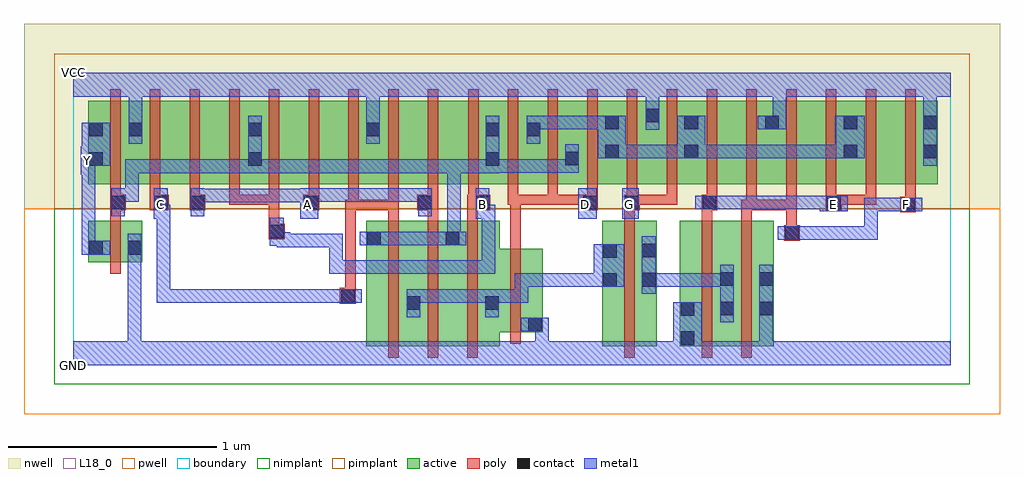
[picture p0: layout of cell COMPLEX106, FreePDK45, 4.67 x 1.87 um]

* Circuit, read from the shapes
.subckt COMPLEX106 A B C D E F G GND VCC Y
M1 GND n1 Y VSUBS nfet w=0.2u l=0.05u
M2 n2 C n1 VSUBS nfet w=0.6u l=0.05u
M3 n1 A n2 VSUBS nfet w=0.6u l=0.05u
M4 n2 B n1 VSUBS nfet w=0.6u l=0.05u
M5 GND D n2 VSUBS nfet w=0.4u l=0.05u
M6 n3 G n2 VSUBS nfet w=0.6u l=0.05u
M7 n3 E GND VSUBS nfet w=0.6u l=0.05u
M8 GND F n3 VSUBS nfet w=0.6u l=0.05u
M9 VCC n1 Y n4 pfet w=0.4u l=0.05u
M10 n5 C VCC n4 pfet w=0.4u l=0.05u
M11 n6 A n5 n4 pfet w=0.4u l=0.05u
M12 n1 B n6 n4 pfet w=0.4u l=0.05u
M13 n7 B n1 n4 pfet w=0.4u l=0.05u
M14 n8 A n7 n4 pfet w=0.4u l=0.05u
M15 VCC C n8 n4 pfet w=0.4u l=0.05u
M16 n9 C VCC n4 pfet w=0.4u l=0.05u
M17 n10 A n9 n4 pfet w=0.4u l=0.05u
M18 n1 B n10 n4 pfet w=0.4u l=0.05u
M19 n11 D n1 n4 pfet w=0.4u l=0.05u m=3
M20 VCC G n11 n4 pfet w=0.4u l=0.05u m=2
M21 n12 E n11 n4 pfet w=0.4u l=0.05u
M22 VCC F n12 n4 pfet w=0.4u l=0.05u
M23 n13 F VCC n4 pfet w=0.4u l=0.05u
M24 n11 E n13 n4 pfet w=0.4u l=0.05u
M25 n14 E n11 n4 pfet w=0.4u l=0.05u
M26 VCC F n14 n4 pfet w=0.4u l=0.05u
.ends

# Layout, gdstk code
import gdstk
lib = gdstk.Library(unit=1e-6, precision=1e-09)
def R(c, l, rs):  # rectangles x0, y0, x1, y1
    for r in rs: c.add(gdstk.rectangle(r[:2], r[2:], *l))
def A(c, l, x, y, w, h, nx, ny, dx, dy):  # array of equal rectangles
    R(c, l, [(x+i*dx, y+j*dy, x+i*dx+w, y+j*dy+h) for i in range(nx) for j in range(ny)])
active = (1, 0)
pwell = (2, 0)
nwell = (3, 0)
nimplant = (4, 0)
pimplant = (5, 0)
poly = (9, 0)
contact = (10, 0)
metal1 = (11, 0)
L18_0 = (18, 0)
boundary = (235, 0)

complex106 = lib.new_cell('COMPLEX106')
R(complex106, active, [(1.402,0.092,1.667,0.692), (1.592,0.092,1.852,0.692), (1.777,0.092,2.042,0.692), (2.532,0.092,2.792,0.692), (2.902,0.092,3.167,0.692), (2.902,0.092,2.977,0.692), (3.092,0.092,3.352,0.692), (1.402,0.095,1.477,0.692), (1.592,0.095,1.667,0.68), (1.777,0.095,1.852,0.692), (2.532,0.095,2.607,0.692), (2.717,0.095,2.792,0.692), (3.092,0.095,3.167,0.692), (3.277,0.095,3.352,0.692), (1.967,0.157,2.247,0.557), (2.172,0.157,2.247,0.557), (1.967,0.2,2.042,0.557), (0.072,0.492,0.147,0.692), (0.072,0.492,0.332,0.692), (0.257,0.492,0.332,0.692), (0.072,0.867,0.147,1.2), (0.072,0.867,0.337,1.267), (0.262,0.867,0.337,1.205), (0.262,0.867,0.487,1.267), (0.487,0.867,0.677,1.267), (0.677,0.867,0.907,1.267), (0.832,0.867,1.057,1.267), (0.832,0.867,0.907,1.2), (1.057,0.867,1.247,1.267), (1.247,0.867,1.472,1.267), (1.397,0.867,1.472,1.205), (1.397,0.867,1.627,1.267), (1.627,0.867,1.82,1.267), (1.82,0.867,2.045,1.267), (1.97,0.867,2.24,1.267), (2.165,0.867,2.24,1.2), (2.165,0.867,2.425,1.267), (2.35,0.867,2.615,1.267), (2.35,0.867,2.425,1.07), (2.54,0.867,2.81,1.267), (2.735,0.867,2.995,1.267), (2.92,0.867,2.995,1.2), (2.92,0.867,3.152,1.267), (3.152,0.867,3.382,1.267), (3.307,0.867,3.382,1.267), (3.307,0.867,3.532,1.267), (3.532,0.867,3.757,1.267), (3.682,0.867,3.912,1.267), (3.682,0.867,3.757,1.2), (3.912,0.867,4.137,1.267), (4.062,0.867,4.137,1.205), (1.97,0.907,2.045,1.2), (2.54,0.907,2.615,1.2), (2.735,0.907,2.81,1.267)])
R(complex106, pwell, [(-0.235,-0.235,4.435,0.75)])
R(complex106, nwell, [(-0.235,0.75,4.435,1.635)])
R(complex106, nimplant, [(-0.09,-0.09,4.29,0.75)])
R(complex106, pimplant, [(-0.09,0.75,4.29,1.49)])
A(complex106, poly, 1.507, 0.037, 0.05, 0.71, 3, 1, 0.19, 0)
A(complex106, poly, 1.507, 0.697, 0.05, 0.095, 3, 1, 0.19, 0)
A(complex106, poly, 0.177, 0.767, 0.05, 0.095, 6, 1, 0.19, 0)
A(complex106, poly, 1.89, 0.767, 0.05, 0.095, 6, 1, 0.19, 0)
A(complex106, poly, 0.177, 0.812, 0.05, 0.51, 9, 1, 0.19, 0)
A(complex106, poly, 1.89, 0.812, 0.05, 0.51, 6, 1, 0.19, 0)
A(complex106, poly, 3.032, 0.812, 0.05, 0.51, 6, 1, 0.19, 0)
R(complex106, poly, [(2.637,0.037,2.687,0.747), (3.007,0.037,3.057,0.747), (3.197,0.037,3.247,0.747), (2.092,0.102,2.142,0.612), (1.277,0.295,1.352,0.37), (1.302,0.32,1.352,0.792), (0.177,0.437,0.227,0.747), (2.092,0.562,2.142,0.817), (3.402,0.595,3.477,0.67), (0.937,0.602,1.012,0.677), (3.412,0.62,3.462,0.67), (3.412,0.62,3.462,0.67), (3.412,0.62,3.462,0.792), (0.937,0.627,0.987,0.677), (0.937,0.627,0.987,0.677), (0.937,0.627,0.987,0.817), (0.177,0.697,0.227,0.792), (2.637,0.697,2.687,0.792), (3.007,0.697,3.057,0.792), (3.197,0.697,3.247,0.792), (3.957,0.732,4.032,0.807), (0.177,0.742,0.252,0.817), (0.367,0.742,0.457,0.817), (0.557,0.742,0.632,0.817), (1.102,0.742,1.177,0.817), (1.302,0.742,1.352,0.792), (1.302,0.742,1.352,0.792), (1.302,0.742,1.352,0.792), (1.302,0.742,1.352,0.792), (1.302,0.742,1.367,0.792), (1.317,0.742,1.367,0.862), (1.317,0.742,1.557,0.792), (1.507,0.742,1.557,0.792), (1.507,0.742,1.557,0.792), (1.507,0.742,1.557,0.792), (1.507,0.742,1.557,0.862), (1.647,0.742,1.747,0.817), (1.887,0.742,1.997,0.817), (2.435,0.742,2.51,0.817), (2.637,0.742,2.712,0.817), (3.007,0.742,3.082,0.817), (3.197,0.742,3.272,0.792), (3.222,0.742,3.272,0.862), (3.222,0.742,3.462,0.792), (3.412,0.742,3.462,0.792), (3.412,0.742,3.462,0.792), (3.412,0.742,3.462,0.792), (3.412,0.742,3.462,0.862), (3.602,0.742,3.677,0.817), (3.982,0.757,4.032,0.862), (0.747,0.767,0.797,0.817), (0.747,0.767,0.797,0.817), (0.747,0.767,0.797,0.817), (0.747,0.767,0.987,0.817), (0.937,0.767,0.987,0.817), (1.697,0.767,1.747,0.862), (2.08,0.767,2.142,0.817), (2.092,0.767,2.142,0.817), (2.092,0.767,2.142,0.817), (2.092,0.767,2.32,0.817), (2.27,0.767,2.32,0.817), (2.27,0.767,2.32,0.817), (2.27,0.767,2.32,0.817), (2.27,0.767,2.485,0.817), (2.662,0.767,2.89,0.817), (2.84,0.767,2.89,0.817), (2.84,0.767,2.89,0.817), (2.84,0.767,2.89,0.817), (3.032,0.767,3.082,0.862), (3.602,0.767,3.652,0.862), (3.627,0.767,3.842,0.817), (3.792,0.767,3.842,0.862), (3.792,0.767,3.842,0.817), (3.792,0.767,3.842,0.817), (3.792,0.767,3.842,0.817)])
A(complex106, contact, 0.562, 0.747, 0.065, 0.065, 3, 1, 0.545, 0)
R(complex106, contact, [(2.907,0.097,2.972,0.162), (2.177,0.162,2.242,0.227), (2.907,0.237,2.972,0.302), (3.097,0.24,3.162,0.305), (3.282,0.24,3.347,0.305), (1.597,0.265,1.662,0.33), (1.972,0.265,2.037,0.33), (1.282,0.3,1.347,0.365), (2.537,0.375,2.602,0.44), (2.722,0.377,2.787,0.442), (3.097,0.38,3.162,0.445), (3.282,0.38,3.347,0.445), (2.537,0.515,2.602,0.58), (2.722,0.517,2.787,0.582), (0.077,0.53,0.142,0.595), (0.262,0.53,0.327,0.595), (1.407,0.575,1.472,0.64), (1.782,0.575,1.847,0.64), (3.407,0.6,3.472,0.665), (0.942,0.607,1.007,0.672), (3.962,0.737,4.027,0.802), (0.182,0.747,0.247,0.812), (0.387,0.747,0.452,0.812), (1.927,0.747,1.992,0.812), (2.44,0.747,2.505,0.812), (2.642,0.747,2.707,0.812), (3.012,0.747,3.077,0.812), (3.607,0.747,3.672,0.812), (0.077,0.955,0.142,1.02), (0.837,0.955,0.902,1.02), (1.975,0.955,2.04,1.02), (2.355,0.957,2.42,1.022), (2.545,0.99,2.61,1.055), (2.925,0.99,2.99,1.055), (3.687,0.99,3.752,1.055), (4.067,0.99,4.132,1.055), (0.077,1.095,0.142,1.16), (0.267,1.095,0.332,1.16), (0.837,1.095,0.902,1.16), (1.402,1.095,1.467,1.16), (1.975,1.095,2.04,1.16), (2.17,1.095,2.235,1.16), (2.545,1.13,2.61,1.195), (2.925,1.13,2.99,1.195), (3.312,1.13,3.377,1.195), (3.687,1.13,3.752,1.195), (4.067,1.13,4.132,1.195), (2.74,1.162,2.805,1.227)])
R(complex106, metal1, [(0,0,4.2,0.115), (0.262,0.05,0.327,0.115), (0.262,0.05,0.327,0.115), (0.262,0.05,0.327,0.115), (0.262,0.05,0.327,0.115), (0.262,0.05,0.327,0.115), (0.262,0.05,0.327,0.115), (0.262,0.05,0.327,0.56), (2.212,0.05,2.277,0.115), (2.212,0.05,2.277,0.115), (2.212,0.05,2.277,0.227), (2.942,0.05,3.007,0.162), (3.282,0.05,3.347,0.27), (2.872,0.097,3.007,0.302), (2.142,0.162,2.277,0.227), (3.097,0.205,3.162,0.48), (3.282,0.205,3.347,0.48), (1.597,0.23,1.662,0.365), (1.972,0.23,2.037,0.365), (0.4,0.3,0.465,0.365), (0.4,0.3,0.627,0.365), (0.4,0.3,0.465,0.767), (0.562,0.3,0.627,0.365), (0.562,0.3,0.627,0.365), (0.562,0.3,0.627,0.365), (0.562,0.3,0.765,0.365), (0.7,0.3,0.765,0.365), (0.7,0.3,0.765,0.365), (0.7,0.3,0.765,0.365), (0.7,0.3,0.765,0.365), (0.7,0.3,0.765,0.365), (0.7,0.3,0.765,0.365), (0.7,0.3,0.765,0.365), (0.7,0.3,0.902,0.365), (0.837,0.3,0.902,0.365), (0.837,0.3,1.152,0.365), (1.087,0.3,1.152,0.365), (1.087,0.3,1.152,0.365), (1.087,0.3,1.152,0.365), (1.087,0.3,1.3,0.365), (1.235,0.3,1.3,0.365), (1.235,0.3,1.312,0.365), (1.247,0.3,1.382,0.365), (1.597,0.3,1.662,0.365), (1.597,0.3,1.662,0.365), (1.597,0.3,1.882,0.365), (1.817,0.3,1.882,0.365), (1.817,0.3,1.882,0.365), (1.817,0.3,1.882,0.365), (1.817,0.3,2.037,0.365), (1.972,0.3,2.177,0.365), (2.112,0.3,2.177,0.44), (2.722,0.342,2.787,0.617), (2.112,0.375,2.177,0.44), (2.112,0.375,2.177,0.44), (2.112,0.375,2.177,0.44), (2.112,0.375,2.177,0.44), (2.112,0.375,2.177,0.44), (2.112,0.375,2.177,0.44), (2.112,0.375,2.315,0.44), (2.25,0.375,2.315,0.44), (2.25,0.375,2.417,0.44), (2.352,0.375,2.417,0.44), (2.352,0.375,2.555,0.44), (2.49,0.375,2.555,0.44), (2.49,0.375,2.555,0.44), (2.49,0.375,2.637,0.58), (2.722,0.375,2.887,0.44), (2.822,0.375,2.887,0.44), (2.822,0.375,3.025,0.44), (2.96,0.375,3.025,0.44), (2.96,0.375,3.025,0.44), (2.96,0.375,3.025,0.44), (2.96,0.375,3.162,0.44), (1.225,0.437,1.37,0.502), (1.225,0.437,1.29,0.63), (1.305,0.437,1.37,0.502), (1.305,0.437,1.507,0.502), (1.442,0.437,1.507,0.502), (1.442,0.437,1.507,0.502), (1.442,0.437,1.507,0.502), (1.442,0.437,1.675,0.502), (1.61,0.437,1.675,0.502), (1.61,0.437,1.675,0.502), (1.61,0.437,1.675,0.502), (1.61,0.437,1.812,0.502), (1.747,0.437,1.812,0.502), (1.747,0.437,2.02,0.502), (1.955,0.437,2.02,0.577), (0.262,0.495,0.327,0.63), (1.955,0.512,2.02,0.577), (1.955,0.512,2.02,0.577), (1.955,0.512,2.02,0.577), (1.955,0.512,2.02,0.577), (1.955,0.512,2.02,0.767), (0.042,0.53,0.177,0.595), (0.042,0.53,0.107,0.977), (0.975,0.565,1.145,0.63), (0.975,0.565,1.04,0.637), (1.08,0.565,1.145,0.63), (1.08,0.565,1.29,0.63), (0.942,0.572,1.007,0.707), (0.942,0.572,1.04,0.637), (1.372,0.575,1.507,0.64), (1.442,0.575,1.507,0.64), (1.442,0.575,1.507,0.64), (1.442,0.575,1.645,0.64), (1.58,0.575,1.645,0.64), (1.58,0.575,1.645,0.64), (1.58,0.575,1.645,0.64), (1.58,0.575,1.812,0.64), (1.747,0.575,1.882,0.64), (1.79,0.575,1.855,0.985), (3.372,0.6,3.507,0.665), (3.442,0.6,3.507,0.665), (3.442,0.6,3.507,0.665), (3.442,0.6,3.507,0.665), (3.442,0.6,3.507,0.665), (3.442,0.6,3.712,0.665), (3.647,0.6,3.712,0.665), (3.647,0.6,3.85,0.665), (3.785,0.6,3.85,0.665), (3.785,0.6,3.85,0.802), (0.387,0.702,0.452,0.847), (0.387,0.702,0.465,0.767), (0.4,0.702,0.465,0.767), (1.087,0.702,1.172,0.847), (1.927,0.702,2.02,0.767), (1.927,0.702,1.992,0.847), (1.955,0.702,2.02,0.767), (2.417,0.702,2.505,0.847), (2.627,0.702,2.707,0.847), (0.182,0.712,0.247,0.847), (0.562,0.712,0.627,0.847), (1.652,0.712,1.717,0.847), (3.572,0.737,3.707,0.812), (3.785,0.737,3.85,0.802), (3.785,0.737,3.85,0.802), (3.785,0.737,3.85,0.802), (3.785,0.737,3.987,0.802), (3.922,0.737,3.987,0.802), (3.922,0.737,3.987,0.802), (3.922,0.737,4.062,0.802), (2.977,0.747,3.112,0.812), (3.047,0.747,3.205,0.812), (3.14,0.747,3.205,0.812), (3.14,0.747,3.25,0.812), (3.185,0.747,3.25,0.812), (3.185,0.747,3.342,0.812), (3.277,0.747,3.342,0.812), (3.277,0.747,3.48,0.812), (3.415,0.747,3.48,0.812), (3.415,0.747,3.48,0.812), (3.415,0.747,3.48,0.812), (3.415,0.747,3.637,0.812), (0.562,0.78,0.627,0.845), (0.562,0.78,0.627,0.845), (0.562,0.78,0.765,0.845), (0.7,0.78,0.765,0.845), (0.7,0.78,0.765,0.845), (0.7,0.78,0.765,0.845), (0.7,0.78,0.902,0.845), (0.837,0.78,0.902,0.845), (0.837,0.78,1.152,0.845), (1.087,0.78,1.152,0.845), (1.087,0.78,1.152,0.845), (0.182,0.782,0.315,0.847), (0.25,0.782,0.315,0.847), (0.25,0.782,0.315,0.985), (1.107,0.782,1.29,0.847), (1.225,0.782,1.29,0.847), (1.225,0.782,1.37,0.847), (1.305,0.782,1.37,0.847), (1.305,0.782,1.507,0.847), (1.442,0.782,1.507,0.847), (1.442,0.782,1.507,0.847), (1.442,0.782,1.507,0.847), (1.442,0.782,1.675,0.847), (1.61,0.782,1.675,0.847), (1.61,0.782,1.717,0.847), (0.037,0.912,0.107,1.047), (0.25,0.92,0.315,0.985), (0.25,0.92,0.465,0.985), (0.4,0.92,0.465,0.985), (0.4,0.92,0.465,0.985), (0.4,0.92,0.465,0.985), (0.4,0.92,0.602,0.985), (0.537,0.92,0.602,0.985), (0.537,0.92,0.602,0.985), (0.537,0.92,0.602,0.985), (0.537,0.92,0.765,0.985), (0.7,0.92,0.765,0.985), (0.7,0.92,0.902,0.985), (0.837,0.92,0.902,1.195), (0.837,0.92,0.902,0.985), (0.837,0.92,0.902,0.985), (0.837,0.92,1.152,0.985), (1.087,0.92,1.152,0.985), (1.087,0.92,1.152,0.985), (1.087,0.92,1.152,0.985), (1.087,0.92,1.29,0.985), (1.225,0.92,1.29,0.985), (1.225,0.92,1.37,0.985), (1.305,0.92,1.37,0.985), (1.305,0.92,1.507,0.985), (1.442,0.92,1.507,0.985), (1.442,0.92,1.507,0.985), (1.442,0.92,1.507,0.985), (1.442,0.92,1.645,0.985), (1.58,0.92,1.645,0.985), (1.58,0.92,1.645,0.985), (1.58,0.92,1.645,0.985), (1.58,0.92,1.855,0.985), (1.79,0.92,1.855,0.985), (1.79,0.92,1.855,0.985), (1.79,0.92,1.855,0.985), (1.79,0.92,1.855,0.985), (1.79,0.92,1.855,0.985), (1.79,0.92,2.04,0.985), (1.975,0.92,2.04,1.195), (1.975,0.922,2.177,0.987), (2.112,0.922,2.177,0.987), (2.112,0.922,2.177,0.987), (2.112,0.922,2.177,0.987), (2.112,0.922,2.315,0.987), (2.25,0.922,2.315,0.987), (2.25,0.922,2.42,0.987), (2.355,0.922,2.42,1.057), (0.042,0.955,0.107,1.02), (0.042,0.955,0.177,1.16), (4.067,0.955,4.132,1.23), (2.51,0.99,2.645,1.195), (2.58,0.99,2.645,1.055), (2.58,0.99,2.645,1.055), (2.58,0.99,2.692,1.055), (2.627,0.99,2.692,1.055), (2.627,0.99,2.8,1.055), (2.735,0.99,2.8,1.055), (2.735,0.99,2.83,1.055), (2.765,0.99,2.83,1.055), (2.765,0.99,2.955,1.055), (2.89,0.99,3.025,1.195), (2.96,0.99,3.025,1.055), (2.96,0.99,3.025,1.055), (2.96,0.99,3.205,1.055), (3.14,0.99,3.205,1.055), (3.14,0.99,3.25,1.055), (3.185,0.99,3.25,1.055), (3.185,0.99,3.342,1.055), (3.277,0.99,3.342,1.055), (3.277,0.99,3.48,1.055), (3.415,0.99,3.48,1.055), (3.415,0.99,3.48,1.055), (3.415,0.99,3.48,1.055), (3.415,0.99,3.712,1.055), (3.647,0.99,3.712,1.055), (3.647,0.99,3.712,1.055), (3.647,0.99,3.787,1.195), (0.267,1.06,0.332,1.195), (1.402,1.06,1.467,1.195), (2.17,1.06,2.235,1.195), (2.74,1.127,2.805,1.262), (0.267,1.13,0.332,1.35), (1.402,1.13,1.467,1.35), (2.17,1.13,2.315,1.195), (2.25,1.13,2.315,1.195), (2.25,1.13,2.417,1.195), (2.352,1.13,2.417,1.195), (2.352,1.13,2.555,1.195), (2.49,1.13,2.555,1.195), (2.49,1.13,2.575,1.195), (3.277,1.13,3.412,1.195), (3.347,1.13,3.412,1.35), (4.067,1.165,4.132,1.35), (2.74,1.197,2.805,1.35), (0,1.285,4.2,1.4)])
R(complex106, L18_0, [(0,0,4.2,0.115), (0.262,0.05,0.327,0.115), (0.262,0.05,0.327,0.115), (0.262,0.05,0.327,0.115), (0.262,0.05,0.327,0.115), (0.262,0.05,0.327,0.115), (0.262,0.05,0.327,0.115), (0.262,0.05,0.327,0.56), (2.212,0.05,2.277,0.115), (2.212,0.05,2.277,0.115), (2.212,0.05,2.277,0.227), (2.942,0.05,3.007,0.162), (3.282,0.05,3.347,0.27), (2.872,0.097,3.007,0.302), (2.142,0.162,2.277,0.227), (3.282,0.205,3.347,0.48), (0.4,0.3,0.465,0.365), (0.4,0.3,0.465,0.767), (0.4,0.3,0.627,0.365), (0.562,0.3,0.627,0.365), (0.562,0.3,0.627,0.365), (0.562,0.3,0.627,0.365), (0.562,0.3,0.765,0.365), (0.7,0.3,0.765,0.365), (0.7,0.3,0.765,0.365), (0.7,0.3,0.765,0.365), (0.7,0.3,0.765,0.365), (0.7,0.3,0.765,0.365), (0.7,0.3,0.765,0.365), (0.7,0.3,0.765,0.365), (0.7,0.3,0.902,0.365), (0.837,0.3,0.902,0.365), (0.837,0.3,1.152,0.365), (1.087,0.3,1.152,0.365), (1.087,0.3,1.152,0.365), (1.087,0.3,1.152,0.365), (1.087,0.3,1.3,0.365), (1.235,0.3,1.3,0.365), (1.235,0.3,1.312,0.365), (1.247,0.3,1.382,0.365), (1.225,0.437,1.29,0.63), (1.225,0.437,1.37,0.502), (1.305,0.437,1.37,0.502), (1.305,0.437,1.507,0.502), (1.442,0.437,1.507,0.502), (1.442,0.437,1.507,0.502), (1.442,0.437,1.507,0.502), (1.442,0.437,1.675,0.502), (1.61,0.437,1.675,0.502), (1.61,0.437,1.675,0.502), (1.61,0.437,1.675,0.502), (1.61,0.437,1.812,0.502), (1.747,0.437,1.812,0.502), (1.747,0.437,2.02,0.502), (1.955,0.437,2.02,0.577), (0.262,0.495,0.327,0.63), (1.955,0.512,2.02,0.577), (1.955,0.512,2.02,0.577), (1.955,0.512,2.02,0.577), (1.955,0.512,2.02,0.577), (1.955,0.512,2.02,0.767), (0.042,0.53,0.177,0.595), (0.042,0.53,0.107,0.977), (0.975,0.565,1.04,0.637), (0.975,0.565,1.145,0.63), (1.08,0.565,1.145,0.63), (1.08,0.565,1.29,0.63), (0.942,0.572,1.007,0.707), (0.942,0.572,1.04,0.637), (3.372,0.6,3.507,0.665), (3.442,0.6,3.507,0.665), (3.442,0.6,3.507,0.665), (3.442,0.6,3.507,0.665), (3.442,0.6,3.507,0.665), (3.442,0.6,3.712,0.665), (3.647,0.6,3.712,0.665), (3.647,0.6,3.85,0.665), (3.785,0.6,3.85,0.665), (3.785,0.6,3.85,0.802), (0.387,0.702,0.452,0.847), (0.387,0.702,0.465,0.767), (0.4,0.702,0.465,0.767), (1.087,0.702,1.172,0.847), (1.927,0.702,1.992,0.847), (1.927,0.702,2.02,0.767), (1.955,0.702,2.02,0.767), (2.417,0.702,2.505,0.847), (2.627,0.702,2.707,0.847), (0.562,0.712,0.627,0.847), (1.652,0.712,1.717,0.847), (0.387,0.737,0.452,0.802), (1.087,0.737,1.152,0.802), (1.927,0.737,1.992,0.802), (2.417,0.737,2.482,0.802), (2.627,0.737,2.692,0.802), (3.572,0.737,3.707,0.812), (3.607,0.737,3.672,0.802), (3.785,0.737,3.85,0.802), (3.785,0.737,3.85,0.802), (3.785,0.737,3.85,0.802), (3.785,0.737,3.987,0.802), (3.922,0.737,3.987,0.802), (3.922,0.737,3.987,0.802), (3.922,0.737,4.062,0.802), (3.957,0.737,4.022,0.802), (2.977,0.747,3.112,0.812), (3.047,0.747,3.205,0.812), (3.14,0.747,3.205,0.812), (3.14,0.747,3.25,0.812), (3.185,0.747,3.25,0.812), (3.185,0.747,3.342,0.812), (3.277,0.747,3.342,0.812), (3.277,0.747,3.48,0.812), (3.415,0.747,3.48,0.812), (3.415,0.747,3.48,0.812), (3.415,0.747,3.48,0.812), (3.415,0.747,3.637,0.812), (0.562,0.78,0.627,0.845), (0.562,0.78,0.627,0.845), (0.562,0.78,0.765,0.845), (0.7,0.78,0.765,0.845), (0.7,0.78,0.765,0.845), (0.7,0.78,0.765,0.845), (0.7,0.78,0.902,0.845), (0.837,0.78,0.902,0.845), (0.837,0.78,1.152,0.845), (1.087,0.78,1.152,0.845), (1.087,0.78,1.152,0.845), (1.107,0.782,1.29,0.847), (1.225,0.782,1.29,0.847), (1.225,0.782,1.37,0.847), (1.305,0.782,1.37,0.847), (1.305,0.782,1.507,0.847), (1.442,0.782,1.507,0.847), (1.442,0.782,1.507,0.847), (1.442,0.782,1.507,0.847), (1.442,0.782,1.675,0.847), (1.61,0.782,1.675,0.847), (1.61,0.782,1.717,0.847), (0.037,0.912,0.107,1.047), (0.037,0.947,0.102,1.012), (0.042,0.955,0.177,1.16), (0.042,0.955,0.107,1.02), (4.067,0.955,4.132,1.23), (0.267,1.06,0.332,1.195), (1.402,1.06,1.467,1.195), (2.74,1.127,2.805,1.262), (0.267,1.13,0.332,1.35), (1.402,1.13,1.467,1.35), (3.277,1.13,3.412,1.195), (3.347,1.13,3.412,1.35), (4.067,1.165,4.132,1.35), (2.74,1.197,2.805,1.35), (0,1.285,4.2,1.4)])
R(complex106, boundary, [(0,0,4.2,1.4)])
complex106.add(gdstk.Label('A', (1.12,0.77), layer=11, texttype=0))
complex106.add(gdstk.Label('B', (1.96,0.77), layer=11, texttype=0))
complex106.add(gdstk.Label('C', (0.42,0.77), layer=11, texttype=0))
complex106.add(gdstk.Label('D', (2.45,0.77), layer=11, texttype=0))
complex106.add(gdstk.Label('E', (3.64,0.77), layer=11, texttype=0))
complex106.add(gdstk.Label('F', (3.99,0.77), layer=11, texttype=0))
complex106.add(gdstk.Label('G', (2.66,0.77), layer=11, texttype=0))
complex106.add(gdstk.Label('Y', (0.07,0.98), layer=11, texttype=0))
complex106.add(gdstk.Label('VCC', (0,1.4), layer=11, texttype=0))
complex106.add(gdstk.Label('GND', (0,0), layer=11, texttype=0))

lib.write_gds('COMPLEX106.gds')
